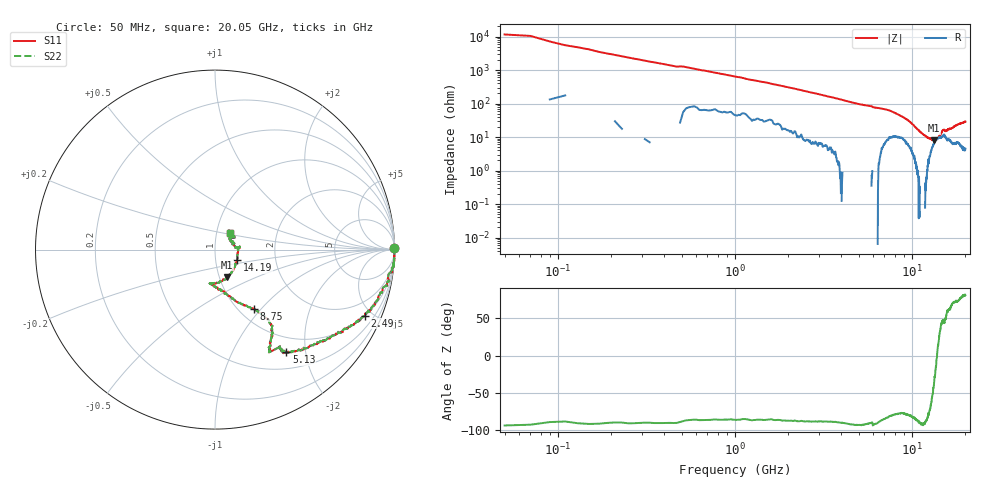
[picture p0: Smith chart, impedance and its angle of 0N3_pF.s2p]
! 500R07S0R3BV4
! Data taken April 11, 2003
! Data taken on a HP 8720C VNA using a series-through test fixture and TRL* de-embedding
#	mhz	s	ma	r	50
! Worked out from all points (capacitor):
!   1001 points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, 50 MHz to 20.05 GHz, reference 50 ohm
!   read as one part in series: C = 269 fF near 150 MHz
!   lowest |Z| = 8.02 ohm at 13.25 GHz (marker M1)
!   series resonance near 13.86 GHz, so ESL is about 490 pH
!   S11 on the Smith chart (normalised r, x): 50 MHz: open; 2.49 GHz: 1.03, -4.52; 5.13 GHz: 0.75, -1.66; 8.75 GHz: 1.17, -0.91; 14.19 GHz: 1.27, -0.15; 20.05 GHz: 1.16, +0.22
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50  1 0.7  0.00869 94.1  0.00869 94.1  1 0.7
210  1 -2.1  0.0355 87.3  0.0355 87.3  1 -2.1
310  1 -3.1  0.05251 86.7  0.05251 86.7  1 -3.1
710  1 -4.5  0.1096 81.6  0.1096 81.6  1 -4.5
1390  0.9755 -10.7  0.2152 75.1  0.2152 75.1  0.9755 -10.7
2490  0.9123 -23.8  0.3856 64.3  0.3856 64.3  0.9123 -23.8
3390  0.8397 -33.0  0.5147 55.6  0.5147 55.6  0.8397 -33.0
5130  0.6958 -55.1  0.6875 39.6  0.6875 39.6  0.6958 -55.1
6110  0.64 -61.7  0.7413 32.7  0.7413 32.7  0.64 -61.7
6730  0.5914 -58.1  0.766 29.1  0.766 29.1  0.5914 -58.1
8750  0.3933 -56.7  0.8742 17.8  0.8742 17.8  0.3933 -56.7
10050  0.2665 -73.9  0.9293 10.6  0.9293 10.6  0.2665 -73.9
11570  0.1919 -98.3  0.9553 3.0  0.9553 3.0  0.1919 -98.3
13250  0.1669 -66.1  0.9545 -3.3  0.9545 -3.3  0.1669 -66.1
13390  0.1625 -61.2  0.9509 -3.9  0.9509 -3.9  0.1625 -61.2
14190  0.1361 -25.8  0.9539 -7.1  0.9539 -7.1  0.1361 -25.8
15170  0.1372 4.3  0.9184 -10.8  0.9184 -10.8  0.1372 4.3
15790  0.1079 18.2  0.9379 -12.3  0.9379 -12.3  0.1079 18.2
16730  0.09833 32.7  0.9341 -14.3  0.9341 -14.3  0.09833 32.7
17970  0.1248 34.5  0.9391 -18.9  0.9391 -18.9  0.1248 34.5
18790  0.1116 39.9  0.9352 -22.0  0.9352 -22.0  0.1116 39.9
20050  0.1252 48.7  0.9365 -25.9  0.9365 -25.9  0.1252 48.7
